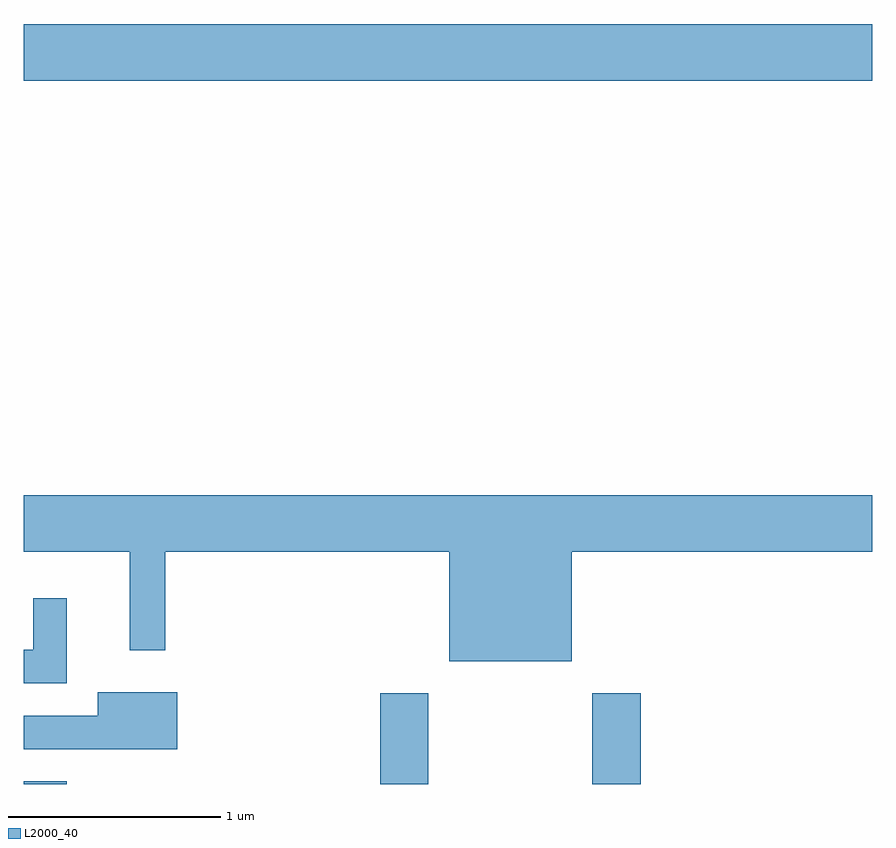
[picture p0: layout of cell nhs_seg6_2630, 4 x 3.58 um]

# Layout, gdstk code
import gdstk
lib = gdstk.Library(unit=1e-6, precision=1e-09)
def R(c, l, rs):  # rectangles x0, y0, x1, y1
    for r in rs: c.add(gdstk.rectangle(r[:2], r[2:], *l))
def P(c, l, *ps):  # polygons
    for p in ps: c.add(gdstk.Polygon(p, *l))
L2000_40 = (2000, 40)

nhs_seg6_2630 = lib.new_cell('nhs_seg6_2630')
R(nhs_seg6_2630, L2000_40, [(263.611,1662.162,263.814,1662.174), (265.291,1662.162,265.519,1662.589), (266.291,1662.162,266.519,1662.589), (263.611,1665.476,267.611,1665.744)])
P(nhs_seg6_2630, L2000_40, [(263.611,1663.256),(264.111,1663.256),(264.111,1662.793),(264.279,1662.793),(264.279,1663.256),(265.616,1663.256),(265.616,1662.741),(266.194,1662.741),(266.194,1663.256),(267.611,1663.256),(267.611,1663.524),(263.611,1663.524)],
  [(263.814,1663.038),(263.656,1663.038),(263.656,1662.794),(263.611,1662.794),(263.611,1662.636),(263.814,1662.636)],
  [(264.334,1662.594),(263.961,1662.594),(263.961,1662.484),(263.611,1662.484),(263.611,1662.326),(264.334,1662.326)])

lib.write_gds('nhs_seg6_2630.gds')
